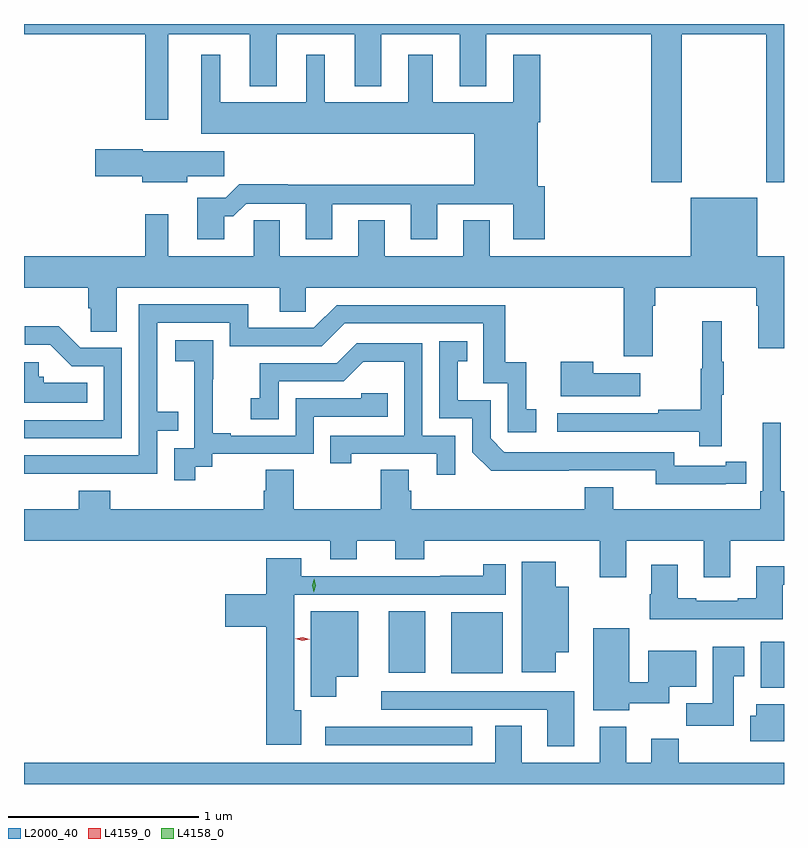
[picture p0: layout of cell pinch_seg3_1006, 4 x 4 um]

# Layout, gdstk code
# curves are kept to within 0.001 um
import gdstk
lib = gdstk.Library(unit=1e-6, precision=1e-09)
def R(c, l, rs):  # rectangles x0, y0, x1, y1
    for r in rs: c.add(gdstk.rectangle(r[:2], r[2:], *l))
def P(c, l, *ps):  # polygons
    for p in ps: c.add(gdstk.Polygon(p, *l))
L2000_40 = (2000, 40)
L4158_0 = (4158, 0)
L4159_0 = (4159, 0)

pinch_seg3_1006 = lib.new_cell('pinch_seg3_1006')
R(pinch_seg3_1006, L2000_40, [(503.544,705.168,504.316,705.264), (505.835,705.47,505.958,705.712), (504.206,705.545,504.478,705.868), (503.879,705.548,504.07,705.871)])
P(pinch_seg3_1006, L2000_40, [(505.419,708.908),(505.864,708.908),(505.864,708.129),(505.958,708.129),(505.958,708.963),(501.958,708.963),(501.958,708.908),(502.596,708.908),(502.596,708.459),(502.717,708.459),(502.717,708.908),(503.147,708.908),(503.147,708.635),(503.287,708.635),(503.287,708.908),(503.699,708.908),(503.699,708.635),(503.839,708.635),(503.839,708.908),(504.251,708.908),(504.251,708.635),(504.391,708.635),(504.391,708.908),(505.259,708.908),(505.259,708.129),(505.419,708.129)],
  [(503.011,707.951),(503.06,707.951),(503.127,708.018),(503.441,708.018),(503.441,707.829),(503.581,707.829),(503.581,708.015),(503.993,708.015),(503.993,707.829),(504.133,707.829),(504.133,708.015),(504.533,708.015),(504.533,707.829),(504.698,707.829),(504.698,708.108),(504.661,708.108),(504.661,708.446),(504.674,708.446),(504.674,708.802),(504.533,708.802),(504.533,708.55),(504.109,708.55),(504.109,708.802),(503.981,708.802),(503.981,708.55),(503.542,708.55),(503.542,708.802),(503.444,708.802),(503.444,708.55),(502.99,708.55),(502.99,708.802),(502.892,708.802),(502.892,708.386),(504.329,708.386),(504.329,708.116),(503.345,708.116),(503.345,708.119),(503.09,708.119),(503.02,708.049),(502.871,708.049),(502.871,707.829),(503.011,707.829)],
  [(502.816,708.163),(503.011,708.163),(503.011,708.292),(502.584,708.292),(502.584,708.305),(502.332,708.305),(502.332,708.163),(502.58,708.163),(502.58,708.131),(502.816,708.131)],
  [(505.267,707.48),(505.28,707.48),(505.28,707.576),(505.811,707.576),(505.811,707.48),(505.823,707.48),(505.823,707.256),(505.958,707.256),(505.958,707.74),(505.816,707.74),(505.816,708.049),(505.466,708.049),(505.466,707.74),(504.409,707.74),(504.409,707.93),(504.269,707.93),(504.269,707.74),(503.857,707.74),(503.857,707.93),(503.717,707.93),(503.717,707.74),(503.305,707.74),(503.305,707.93),(503.166,707.93),(503.166,707.74),(502.717,707.74),(502.717,707.962),(502.596,707.962),(502.596,707.74),(501.958,707.74),(501.958,707.576),(502.295,707.576),(502.295,707.467),(502.308,707.467),(502.308,707.344),(502.447,707.344),(502.447,707.576),(503.303,707.576),(503.303,707.449),(503.442,707.449),(503.442,707.576),(505.115,707.576),(505.115,707.214),(505.267,707.214)],
  [(502.163,706.596),(502.659,706.596),(502.659,706.821),(502.769,706.821),(502.769,706.922),(502.659,706.922),(502.659,707.391),(503.04,707.391),(503.04,707.268),(503.526,707.268),(503.646,707.388),(504.375,707.388),(504.375,707.073),(504.504,707.073),(504.504,706.815),(504.655,706.815),(504.655,706.935),(504.602,706.935),(504.602,707.182),(504.491,707.182),(504.491,707.484),(503.604,707.484),(503.484,707.364),(503.137,707.364),(503.137,707.487),(502.563,707.487),(502.563,706.692),(501.958,706.692),(501.958,706.595)],
  [(505.631,707.011),(505.642,707.011),(505.642,707.185),(505.631,707.185),(505.631,707.398),(505.528,707.398),(505.528,707.148),(505.521,707.148),(505.521,706.934),(505.297,706.934),(505.297,706.914),(504.765,706.914),(504.765,706.818),(505.513,706.818),(505.513,706.74),(505.631,706.74)],
  [(502.473,707.259),(502.254,707.259),(502.141,707.372),(501.963,707.372),(501.963,707.274),(502.097,707.274),(502.208,707.163),(502.377,707.163),(502.377,706.878),(501.958,706.878),(501.958,706.782),(502.473,706.782)],
  [(502.858,706.633),(502.95,706.633),(502.95,706.701),(503.484,706.701),(503.484,706.896),(503.873,706.896),(503.873,707.019),(503.733,707.019),(503.733,706.992),(503.388,706.992),(503.388,706.797),(503.047,706.797),(503.047,706.81),(502.952,706.81),(502.952,707.093),(502.953,707.093),(502.953,707.299),(502.755,707.299),(502.755,707.189),(502.853,707.189),(502.853,706.961),(502.854,706.961),(502.854,706.731),(502.749,706.731),(502.749,706.563),(502.858,706.563)],
  [(505.652,706.542),(505.76,706.542),(505.76,706.658),(505.652,706.658),(505.652,706.638),(505.38,706.638),(505.38,706.71),(504.486,706.71),(504.414,706.782),(504.414,706.983),(504.241,706.983),(504.241,707.187),(504.29,707.187),(504.29,707.293),(504.144,707.293),(504.144,706.887),(504.318,706.887),(504.318,706.71),(504.416,706.613),(505.284,706.614),(505.284,706.541)],
  [(504.228,706.797),(504.054,706.797),(504.054,707.283),(503.708,707.283),(503.603,707.178),(503.2,707.178),(503.2,706.993),(503.151,706.993),(503.151,706.884),(503.298,706.884),(503.298,707.082),(503.64,707.082),(503.744,707.186),(503.958,707.186),(503.958,706.797),(503.569,706.797),(503.569,706.65),(503.68,706.65),(503.68,706.701),(504.131,706.701),(504.131,706.59),(504.228,706.59)],
  [(505.201,707.125),(504.953,707.125),(504.953,707.185),(504.782,707.185),(504.782,707.003),(505.201,707.003)],
  [(502.292,707.074),(502.062,707.074),(502.062,707.106),(502.035,707.106),(502.035,707.182),(501.958,707.182),(501.958,706.97),(502.292,706.97)],
  [(505.129,706.244),(505.535,706.244),(505.535,706.05),(505.675,706.05),(505.675,706.244),(505.958,706.244),(505.958,706.504),(505.942,706.504),(505.942,706.864),(505.845,706.864),(505.845,706.504),(505.832,706.504),(505.832,706.408),(505.06,706.408),(505.06,706.525),(504.908,706.525),(504.908,706.408),(503.996,706.408),(503.996,706.506),(503.983,706.506),(503.983,706.616),(503.836,706.616),(503.836,706.408),(503.379,706.408),(503.379,706.616),(503.231,706.616),(503.231,706.506),(503.219,706.506),(503.219,706.408),(502.412,706.408),(502.412,706.507),(502.247,706.507),(502.247,706.408),(501.958,706.408),(501.958,706.244),(503.57,706.244),(503.57,706.145),(503.71,706.145),(503.71,706.244),(503.912,706.244),(503.912,706.145),(504.065,706.145),(504.065,706.244),(504.989,706.244),(504.989,706.05),(505.129,706.05)],
  [(503.416,705.352),(503.38,705.352),(503.38,705.96),(504.493,705.96),(504.493,706.12),(504.376,706.12),(504.376,706.058),(504.148,706.058),(504.148,706.056),(503.416,706.056),(503.416,706.15),(503.234,706.15),(503.234,705.961),(503.016,705.961),(503.016,705.791),(503.234,705.791),(503.234,705.17),(503.416,705.17)],
  [(504.757,705.656),(504.826,705.656),(504.826,706),(504.757,706),(504.757,706.132),(504.578,706.132),(504.578,705.551),(504.757,705.551)],
  [(505.951,706.011),(505.958,706.011),(505.958,706.108),(505.811,706.108),(505.811,705.94),(505.715,705.94),(505.715,705.927),(505.495,705.927),(505.495,705.94),(505.399,705.94),(505.399,706.117),(505.259,706.117),(505.259,705.962),(505.252,705.962),(505.252,705.83),(505.951,705.83)],
  [(503.602,705.527),(503.716,705.527),(503.716,705.871),(503.468,705.871),(503.468,705.423),(503.602,705.423)],
  [(505.144,705.389),(505.354,705.389),(505.354,705.476),(505.495,705.476),(505.495,705.664),(505.244,705.664),(505.244,705.499),(505.144,705.499),(505.144,705.784),(504.953,705.784),(504.953,705.35),(505.144,705.35)],
  [(505.693,705.529),(505.75,705.529),(505.75,705.685),(505.583,705.685),(505.583,705.388),(505.444,705.388),(505.444,705.27),(505.693,705.27)],
  [(504.853,705.45),(503.838,705.45),(503.838,705.354),(504.713,705.354),(504.713,705.162),(504.853,705.162)],
  [(505.958,705.382),(505.811,705.382),(505.811,705.323),(505.781,705.323),(505.781,705.188),(505.958,705.188)],
  [(505.958,705.076),(505.403,705.076),(505.403,705.2),(505.259,705.2),(505.259,705.076),(505.129,705.076),(505.129,705.265),(504.989,705.265),(504.989,705.076),(504.577,705.076),(504.577,705.269),(504.437,705.269),(504.437,705.076),(501.958,705.076),(501.958,704.963),(505.958,704.963)])
P(pinch_seg3_1006, L4158_0, [(503.483,705.973),(503.483,705.973),(503.474,706.008),(503.486,706.042),(503.486,706.042),(503.486,706.042),(503.494,706.007),(503.483,705.973)])
P(pinch_seg3_1006, L4159_0, [(503.423,705.716),(503.386,705.727),(503.385,705.727),(503.386,705.727),(503.424,705.736),(503.461,705.726),(503.461,705.726),(503.461,705.726)])

lib.write_gds('pinch_seg3_1006.gds')
